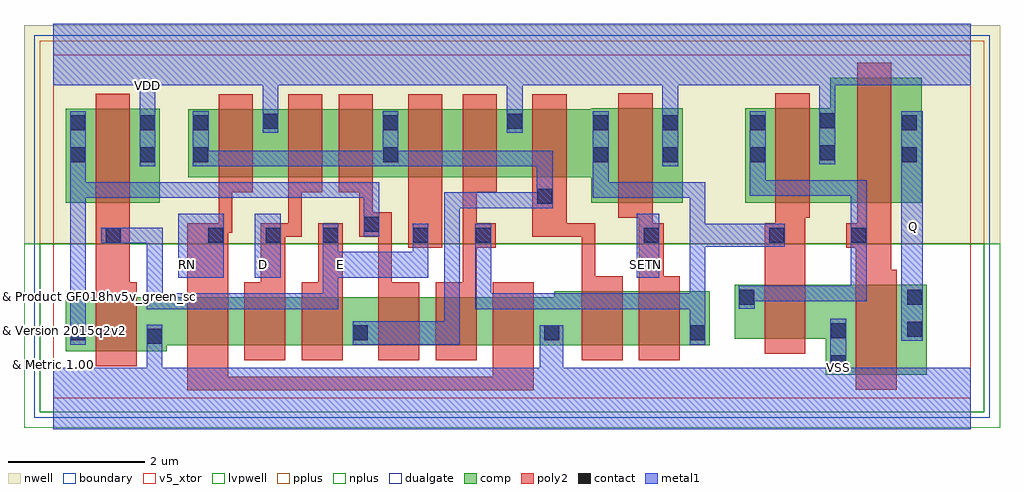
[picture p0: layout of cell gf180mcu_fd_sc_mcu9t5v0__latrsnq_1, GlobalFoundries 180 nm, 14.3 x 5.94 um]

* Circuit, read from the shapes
.subckt gf180mcu_fd_sc_mcu9t5v0__latrsnq_1 D E Q RN SETN VDD VSS
XM1 VSS E n1 VSUBS nfet_05v0 w=0.79u l=0.6u
XM2 n2 RN VSS VSUBS nfet_05v0 w=0.7u l=0.6u
XM3 n3 D n2 VSUBS nfet_05v0 w=0.7u l=0.6u
XM4 n4 E n3 VSUBS nfet_05v0 w=0.7u l=0.6u
XM5 n5 n1 n4 VSUBS nfet_05v0 w=0.7u l=0.6u
XM6 n6 n7 n5 VSUBS nfet_05v0 w=0.7u l=0.6u
XM7 VSS RN n6 VSUBS nfet_05v0 w=0.7u l=0.6u
XM8 n8 n4 VSS VSUBS nfet_05v0 w=0.79u l=0.6u
XM9 n7 SETN n8 VSUBS nfet_05v0 w=0.79u l=0.6u
XM10 VSS n7 n9 VSUBS nfet_05v0 w=0.79u l=0.6u
XM11 Q n9 VSS VSUBS nfet_05v0 w=1.32u l=0.6u
XM12 VDD E n1 n10 pfet_05v0 w=1.38u l=0.5u
XM13 VDD RN n4 n10 pfet_05v0 w=1u l=0.5u
XM14 n11 D VDD n10 pfet_05v0 w=1u l=0.5u
XM15 n4 n1 n11 n10 pfet_05v0 w=1u l=0.5u
XM16 n12 E n4 n10 pfet_05v0 w=1u l=0.5u
XM17 VDD n7 n12 n10 pfet_05v0 w=1u l=0.5u
XM18 n7 n4 VDD n10 pfet_05v0 w=1u l=0.5u
XM19 VDD SETN n7 n10 pfet_05v0 w=1.38u l=0.5u
XM20 VDD n7 n9 n10 pfet_05v0 w=1.38u l=0.5u
XM21 Q n9 VDD n10 pfet_05v0 w=1.83u l=0.5u
.ends

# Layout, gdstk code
import gdstk
lib = gdstk.Library(unit=1e-6, precision=1e-09)
def R(c, l, rs):  # rectangles x0, y0, x1, y1
    for r in rs: c.add(gdstk.rectangle(r[:2], r[2:], *l))
def A(c, l, x, y, w, h, nx, ny, dx, dy):  # array of equal rectangles
    R(c, l, [(x+i*dx, y+j*dy, x+i*dx+w, y+j*dy+h) for i in range(nx) for j in range(ny)])
def P(c, l, *ps):  # polygons
    for p in ps: c.add(gdstk.Polygon(p, *l))
boundary = (0, 0)
nwell = (21, 0)
comp = (22, 0)
poly2 = (30, 0)
pplus = (31, 0)
nplus = (32, 0)
contact = (33, 0)
metal1 = (34, 0)
dualgate = (55, 0)
v5_xtor = (112, 1)
lvpwell = (204, 0)

gf180mcu_fd_sc_mcu9t5v0_ = lib.new_cell('gf180mcu_fd_sc_mcu9t5v0__latrsnq_1')
R(gf180mcu_fd_sc_mcu9t5v0_, boundary, [(0,0,13.44,5.04)])
R(gf180mcu_fd_sc_mcu9t5v0_, nwell, [(-0.43,2.265,13.87,5.47)])
R(gf180mcu_fd_sc_mcu9t5v0_, comp, [(0.18,2.865,1.56,4.245)])
P(gf180mcu_fd_sc_mcu9t5v0_, comp, [(7.88,2.87),(7.88,3.24),(1.98,3.24),(1.98,4.24),(7.88,4.24),(7.88,4.25),(9.22,4.25),(9.22,2.87)],
  [(0.18,0.69),(0.18,1.48),(7.34,1.48),(7.34,1.57),(9.62,1.57),(9.62,0.78),(1.66,0.78),(1.66,0.69)],
  [(10.14,2.87),(10.14,4.25),(11.38,4.25),(11.38,4.7),(12.72,4.7),(12.72,2.87)],
  [(11.32,0.345),(11.32,0.875),(9.98,0.875),(9.98,1.665),(12.8,1.665),(12.8,0.345)])
R(gf180mcu_fd_sc_mcu9t5v0_, poly2, [(5.2,2.21,5.7,4.46)])
P(gf180mcu_fd_sc_mcu9t5v0_, poly2, [(0.62,0.47),(0.62,4.465),(1.12,4.465),(1.12,1.7),(1.22,1.7),(1.22,0.47)],
  [(2.8,0.56),(2.8,1.7),(3.04,1.7),(3.04,2.57),(3.44,2.57),(3.44,4.46),(3.94,4.46),(3.94,3.02),(3.64,3.02),(3.64,2.37),(3.4,2.37),(3.4,0.56)],
  [(3.64,0.56),(3.64,1.7),(3.88,1.7),(3.88,2.57),(4.24,2.57),(4.24,0.56)],
  [(4.76,0.56),(4.76,2.37),(4.48,2.37),(4.48,3.02),(4.18,3.02),(4.18,4.46),(4.68,4.46),(4.68,2.73),(4.96,2.73),(4.96,1.7),(5.36,1.7),(5.36,0.56)],
  [(5.6,0.56),(5.6,1.7),(6,1.7),(6,4.46),(6.5,4.46),(6.5,3.02),(6.2,3.02),(6.2,2.57),(6.48,2.57),(6.48,2.21),(6.2,2.21),(6.2,0.56)],
  [(1.96,0.12),(1.96,2.57),(2.42,2.57),(2.42,4.46),(2.92,4.46),(2.92,3.02),(2.62,3.02),(2.62,2.425),(2.56,2.425),(2.56,0.32),(6.44,0.32),(6.44,1.7),(7.04,1.7),(7.04,0.12)],
  [(7.74,0.56),(7.74,2.37),(7.02,2.37),(7.02,4.46),(7.52,4.46),(7.52,2.57),(7.94,2.57),(7.94,1.79),(8.34,1.79),(8.34,0.56)],
  [(8.58,0.56),(8.58,2.65),(8.28,2.65),(8.28,4.47),(8.78,4.47),(8.78,2.57),(8.94,2.57),(8.94,1.79),(9.18,1.79),(9.18,0.56)],
  [(10.42,0.655),(10.42,2.57),(10.58,2.57),(10.58,4.47),(11.08,4.47),(11.08,2.65),(11.02,2.65),(11.02,0.655)],
  [(11.76,0.125),(11.76,2.21),(11.62,2.21),(11.62,2.57),(11.78,2.57),(11.78,4.92),(12.28,4.92),(12.28,1.885),(12.36,1.885),(12.36,0.125)])
R(gf180mcu_fd_sc_mcu9t5v0_, pplus, [(-0.2,2.265,13.64,5.24)])
R(gf180mcu_fd_sc_mcu9t5v0_, nplus, [(-0.2,-0.2,13.64,2.265)])
A(gf180mcu_fd_sc_mcu9t5v0_, contact, 2.27, 2.28, 0.22, 0.22, 3, 1, 0.84, 0)
R(gf180mcu_fd_sc_mcu9t5v0_, contact, [(11.39,0.415,11.61,0.635), (1.37,0.8,1.59,1.02), (0.25,0.85,0.47,1.07), (4.39,0.85,4.61,1.07), (7.19,0.85,7.41,1.07), (9.33,0.85,9.55,1.07), (11.39,0.885,11.61,1.105), (12.51,0.905,12.73,1.125), (10.05,1.375,10.27,1.595), (12.51,1.375,12.73,1.595), (0.765,2.28,0.985,2.5), (5.27,2.28,5.49,2.5), (6.19,2.28,6.41,2.5), (8.65,2.28,8.87,2.5), (10.49,2.28,10.71,2.5), (11.69,2.28,11.91,2.5), (4.55,2.44,4.77,2.66), (7.09,2.85,7.31,3.07), (0.25,3.46,0.47,3.68), (1.27,3.46,1.49,3.68), (2.05,3.46,2.27,3.68), (4.83,3.46,5.05,3.68), (7.91,3.46,8.13,3.68), (8.93,3.46,9.15,3.68), (10.21,3.46,10.43,3.68), (12.43,3.46,12.65,3.68), (11.23,3.49,11.45,3.71), (0.25,3.93,0.47,4.15), (1.27,3.93,1.49,4.15), (2.05,3.93,2.27,4.15), (4.83,3.93,5.05,4.15), (7.91,3.93,8.13,4.15), (8.93,3.93,9.15,4.15), (10.21,3.93,10.43,4.15), (12.43,3.93,12.65,4.15), (3.07,3.95,3.29,4.17), (6.65,3.95,6.87,4.17), (11.23,3.96,11.45,4.18)])
R(gf180mcu_fd_sc_mcu9t5v0_, metal1, [(12.425,0.845,12.735,4.21), (1.83,1.77,2.495,2.71), (2.95,1.77,3.335,2.71), (8.55,1.77,8.875,2.71)])
P(gf180mcu_fd_sc_mcu9t5v0_, metal1, [(0.245,0.79),(0.245,4.21),(0.475,4.21),(0.475,3.17),(4.775,3.17),(4.775,2.38),(4.545,2.38),(4.545,2.94),(0.475,2.94),(0.475,0.79)],
  [(1.37,1.31),(1.37,2.275),(0.705,2.275),(0.705,2.505),(1.6,2.505),(1.6,1.54),(3.945,1.54),(3.945,2.56),(4.175,2.56),(4.175,2.15),(5.265,2.15),(5.265,2.56),(5.495,2.56),(5.495,1.77),(4.175,1.77),(4.175,1.31)],
  [(4.385,0.79),(4.385,1.13),(5.725,1.13),(5.725,3.02),(7.085,3.02),(7.085,3.4),(2.045,3.4),(2.045,4.21),(2.275,4.21),(2.275,3.63),(4.825,3.63),(4.825,4.21),(5.055,4.21),(5.055,3.63),(7.315,3.63),(7.315,2.79),(5.955,2.79),(5.955,0.79)],
  [(9.325,0.79),(9.325,1.31),(6.185,1.31),(6.185,2.56),(6.415,2.56),(6.415,1.54),(9.325,1.54),(9.325,2.94),(7.905,2.94),(7.905,4.21),(8.135,4.21),(8.135,3.17),(9.555,3.17),(9.555,2.56),(10.715,2.56),(10.715,2.22),(9.555,2.22),(9.555,0.79)],
  [(10.045,1.315),(10.045,1.655),(11.685,1.655),(11.685,2.97),(10.205,2.97),(10.205,4.21),(10.435,4.21),(10.435,3.2),(11.915,3.2),(11.915,1.425),(10.275,1.425),(10.275,1.315)],
  [(0,-0.45),(0,0.45),(1.365,0.45),(1.365,1.08),(1.595,1.08),(1.595,0.45),(7.13,0.45),(7.13,1.075),(7.47,1.075),(7.47,0.45),(11.385,0.45),(11.385,1.165),(11.615,1.165),(11.615,0.45),(13.44,0.45),(13.44,-0.45)],
  [(1.265,3.4),(1.265,4.59),(0,4.59),(0,5.49),(13.44,5.49),(13.44,4.59),(11.455,4.59),(11.455,3.43),(11.225,3.43),(11.225,4.59),(9.155,4.59),(9.155,3.4),(8.925,3.4),(8.925,4.59),(6.875,4.59),(6.875,3.89),(6.645,3.89),(6.645,4.59),(3.295,4.59),(3.295,3.89),(3.065,3.89),(3.065,4.59),(1.495,4.59),(1.495,3.4)])
R(gf180mcu_fd_sc_mcu9t5v0_, dualgate, [(-0.28,-0.28,13.72,5.32)])
R(gf180mcu_fd_sc_mcu9t5v0_, v5_xtor, [(0,0,13.44,5.04)])
R(gf180mcu_fd_sc_mcu9t5v0_, lvpwell, [(-0.43,-0.43,13.87,2.265)])
gf180mcu_fd_sc_mcu9t5v0_.add(gdstk.Label('D', (3.08,1.96), layer=34, texttype=10))
gf180mcu_fd_sc_mcu9t5v0_.add(gdstk.Label('E', (4.2,1.96), layer=34, texttype=10))
gf180mcu_fd_sc_mcu9t5v0_.add(gdstk.Label('Q', (12.6,2.52), layer=34, texttype=10))
gf180mcu_fd_sc_mcu9t5v0_.add(gdstk.Label('RN', (1.96,1.96), layer=34, texttype=10))
gf180mcu_fd_sc_mcu9t5v0_.add(gdstk.Label('SETN', (8.68,1.96), layer=34, texttype=10))
gf180mcu_fd_sc_mcu9t5v0_.add(gdstk.Label('VDD', (1.38,4.59), layer=34, texttype=10))
gf180mcu_fd_sc_mcu9t5v0_.add(gdstk.Label('VSS', (11.5,0.45), layer=34, texttype=10))
gf180mcu_fd_sc_mcu9t5v0_.add(gdstk.Label('& Vendor GLOBALFOUNDRIES', (0,2), layer=63, texttype=63))
gf180mcu_fd_sc_mcu9t5v0_.add(gdstk.Label('& Product GF018hv5v_green_sc9', (0,1.5), layer=63, texttype=63))
gf180mcu_fd_sc_mcu9t5v0_.add(gdstk.Label('& Version 2015q2v2', (0,1), layer=63, texttype=63))
gf180mcu_fd_sc_mcu9t5v0_.add(gdstk.Label('& Metric 1.00', (0,0.5), layer=63, texttype=63))

lib.write_gds('gf180mcu_fd_sc_mcu9t5v0__latrsnq_1.gds')
